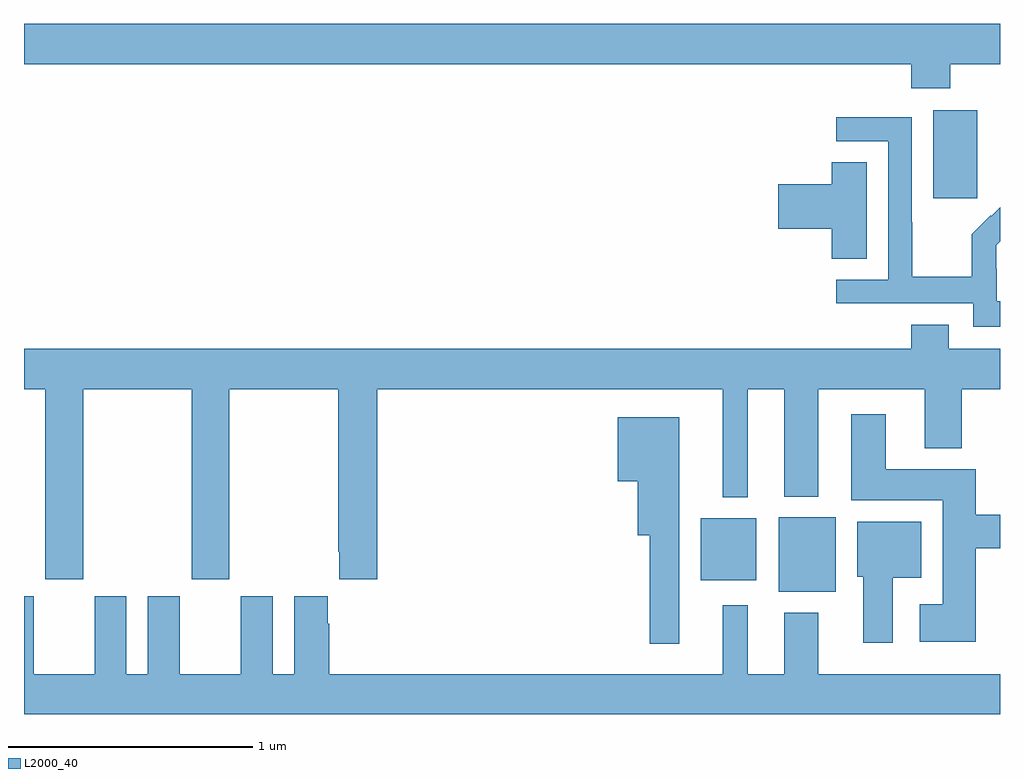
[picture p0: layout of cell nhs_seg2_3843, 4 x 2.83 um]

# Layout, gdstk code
import gdstk
lib = gdstk.Library(unit=1e-6, precision=1e-09)
def R(c, l, rs):  # rectangles x0, y0, x1, y1
    for r in rs: c.add(gdstk.rectangle(r[:2], r[2:], *l))
def P(c, l, *ps):  # polygons
    for p in ps: c.add(gdstk.Polygon(p, *l))
L2000_40 = (2000, 40)

nhs_seg2_3843 = lib.new_cell('nhs_seg2_3843')
R(nhs_seg2_3843, L2000_40, [(316.094,654.797,316.327,655.102), (315.773,654.845,316,655.099), (316.727,656.409,316.906,656.77)])
P(nhs_seg2_3843, L2000_40, [(316.797,656.96),(317,656.96),(317,657.124),(313,657.124),(313,656.96),(316.637,656.96),(316.637,656.861),(316.797,656.861)],
  [(317,655.987),(316.986,655.987),(316.986,656.121),(316.984,656.121),(316.984,656.218),(317,656.234),(317,656.372),(316.965,656.337),(316.962,656.34),(316.885,656.263),(316.885,656.089),(316.641,656.089),(316.641,656.312),(316.638,656.312),(316.638,656.742),(316.329,656.742),(316.329,656.643),(316.542,656.643),(316.542,656.076),(316.329,656.076),(316.329,655.98),(316.89,655.98),(316.89,655.883),(317,655.883)],
  [(316.453,656.558),(316.31,656.558),(316.31,656.468),(316.092,656.468),(316.092,656.285),(316.31,656.285),(316.31,656.161),(316.453,656.161)],
  [(313,655.628),(313.087,655.628),(313.087,654.849),(313.242,654.849),(313.242,655.628),(313.687,655.628),(313.687,654.849),(313.842,654.849),(313.842,655.628),(314.287,655.628),(314.287,654.961),(314.291,654.961),(314.291,654.849),(314.447,654.849),(314.447,655.628),(315.863,655.628),(315.863,655.184),(315.967,655.184),(315.967,655.628),(316.115,655.628),(316.115,655.187),(316.255,655.187),(316.255,655.628),(316.691,655.628),(316.691,655.385),(316.844,655.385),(316.844,655.628),(317,655.628),(317,655.792),(316.789,655.792),(316.789,655.891),(316.637,655.891),(316.637,655.792),(313,655.792)],
  [(316.901,654.976),(317,654.976),(317,655.112),(316.901,655.112),(316.901,655.3),(316.531,655.3),(316.531,655.525),(316.391,655.525),(316.391,655.172),(316.766,655.172),(316.766,654.745),(316.671,654.745),(316.671,654.593),(316.901,654.593)],
  [(315.685,655.513),(315.434,655.513),(315.434,655.25),(315.515,655.25),(315.515,655.028),(315.564,655.028),(315.564,654.585),(315.685,654.585)],
  [(316.561,654.854),(316.678,654.854),(316.678,655.084),(316.415,655.084),(316.415,654.858),(316.439,654.858),(316.439,654.588),(316.561,654.588)],
  [(317,654.46),(316.255,654.46),(316.255,654.712),(316.115,654.712),(316.115,654.46),(315.967,654.46),(315.967,654.742),(315.863,654.742),(315.863,654.46),(314.252,654.46),(314.252,654.665),(314.245,654.665),(314.245,654.778),(314.108,654.778),(314.108,654.46),(314.02,654.46),(314.02,654.778),(313.889,654.778),(313.889,654.46),(313.639,654.46),(313.639,654.778),(313.508,654.778),(313.508,654.46),(313.42,654.46),(313.42,654.778),(313.289,654.778),(313.289,654.46),(313.039,654.46),(313.039,654.778),(313,654.778),(313,654.296),(317,654.296)])

lib.write_gds('nhs_seg2_3843.gds')
